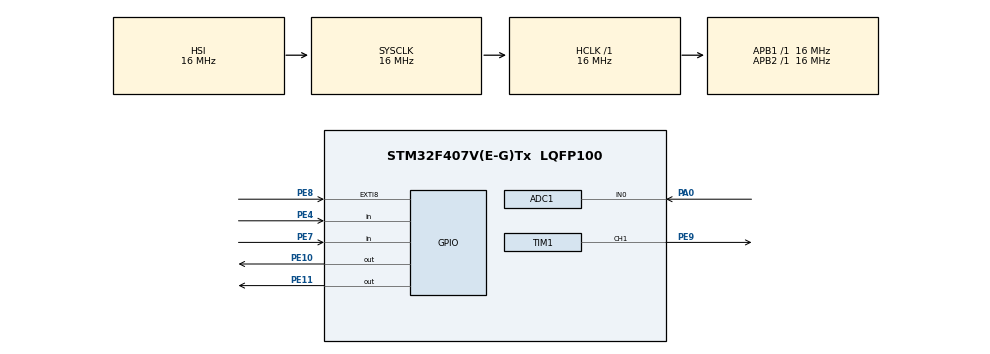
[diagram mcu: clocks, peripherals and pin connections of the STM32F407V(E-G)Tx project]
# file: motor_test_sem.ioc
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ADC1.Channel-0\#ChannelRegularConversion=ADC_CHANNEL_0
ADC1.NbrOfConversionFlag=1
ADC1.Rank-0\#ChannelRegularConversion=1
ADC1.SamplingTime-0\#ChannelRegularConversion=ADC_SAMPLETIME_480CYCLES
ADC1.master=1
Dma.ADC1.0.Direction=DMA_PERIPH_TO_MEMORY
Dma.ADC1.0.FIFOMode=DMA_FIFOMODE_ENABLE
Dma.ADC1.0.FIFOThreshold=DMA_FIFO_THRESHOLD_FULL
Dma.ADC1.0.Instance=DMA2_Stream0
Dma.ADC1.0.MemBurst=DMA_MBURST_SINGLE
Dma.ADC1.0.MemDataAlignment=DMA_MDATAALIGN_HALFWORD
Dma.ADC1.0.MemInc=DMA_MINC_ENABLE
Dma.ADC1.0.Mode=DMA_CIRCULAR
Dma.ADC1.0.PeriphBurst=DMA_PBURST_SINGLE
Dma.ADC1.0.PeriphDataAlignment=DMA_PDATAALIGN_HALFWORD
Dma.ADC1.0.PeriphInc=DMA_PINC_DISABLE
Dma.ADC1.0.Priority=DMA_PRIORITY_LOW
Dma.Request0=ADC1
Mcu.Family=STM32F4
Mcu.Name=STM32F407V(E-G)Tx
Mcu.Package=LQFP100
NVIC.ADC_IRQn=true\:0\:0\:false\:false\:true\:true\:true\:true
NVIC.DMA2_Stream0_IRQn=true\:0\:0\:false\:false\:true\:false\:true\:true
NVIC.EXTI9_5_IRQn=true\:0\:0\:false\:false\:true\:true\:true\:true
NVIC.PriorityGroup=NVIC_PRIORITYGROUP_4
NVIC.TIM2_IRQn=true\:0\:0\:false\:false\:true\:true\:true\:true
PA0-WKUP.Signal=ADCx_IN0
PA13.Mode=Serial_Wire
PA13.Signal=SYS_JTMS-SWDIO
PA14.Mode=Serial_Wire
PA14.Signal=SYS_JTCK-SWCLK
PE10.Signal=GPIO_Output
PE11.Signal=GPIO_Output
PE4.GPIO_PuPd=GPIO_PULLUP
PE4.Signal=GPIO_Input
PE7.Signal=GPIO_Input
PE8.Signal=GPXTI8
PE9.Signal=S_TIM1_CH1
ProjectManager.HeapSize=0x200
ProjectManager.StackSize=0x400
ProjectManager.TargetToolchain=STM32CubeIDE
RCC.AHBFreq_Value=16000000
RCC.APB1Freq_Value=16000000
RCC.APB2Freq_Value=16000000
RCC.CortexFreq_Value=16000000
RCC.HSE_VALUE=25000000
RCC.HSI_VALUE=16000000
RCC.LSE_VALUE=32768
RCC.SYSCLKFreq_VALUE=16000000
RCC.VCOOutputFreq_Value=192000000
SH.ADCx_IN0.0=ADC1_IN0,IN0
SH.S_TIM1_CH1.0=TIM1_CH1,PWM Generation1 CH1
TIM1.AutoReloadPreload=TIM_AUTORELOAD_PRELOAD_DISABLE
TIM1.Channel-PWM\ Generation1\ CH1=TIM_CHANNEL_1
TIM1.Period=4096
TIM1.Prescaler=15
TIM2.Period=100000
TIM2.Prescaler=15
VP_TIM1_VS_ClockSourceINT.Mode=Internal
VP_TIM2_VS_ClockSourceINT.Mode=Internal
board=custom

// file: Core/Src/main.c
 /* USER CODE BEGIN Header */
/**
  ******************************************************************************
  * @file           : main.c
  * @brief          : Main program body
  ******************************************************************************
  * @attention
  *
  * Copyright (c) 2024 STMicroelectronics.
  * All rights reserved.
  *
  * This software is licensed under terms that can be found in the LICENSE file
  * in the root directory of this software component.
  * If no LICENSE file comes with this software, it is provided AS-IS.
  *
  ******************************************************************************
  */
/* USER CODE END Header */
#include "main.h"

 ADC_HandleTypeDef hadc1;
DMA_HandleTypeDef hdma_adc1;

TIM_HandleTypeDef htim1;
TIM_HandleTypeDef htim2;

/* USER CODE BEGIN PV */
uint16_t ADCdata;
int16_t angle;
int16_t p_angle = 10000;
int32_t error = 0;
int32_t I_error = 0;
double speed;
double need_speed;
double sum = 0;
double k1 = 1;
double k2 = 1;
double PID;

/* USER CODE END PV */

void SystemClock_Config(void);
static void MX_GPIO_Init(void);
static void MX_DMA_Init(void);
static void MX_ADC1_Init(void);
static void MX_TIM1_Init(void);
static void MX_TIM2_Init(void);

/* USER CODE BEGIN 0 */
void HAL_TIM_PeriodElapsedCallback(TIM_HandleTypeDef *htim1)
{
	if(htim1->Instance == TIM2) //check if the interrupt comes from TIM1
	{
		//period = (16Mhz/htim2.Init.Prescaler(16-1))/htim2.Init.Period(100000);
		//period = (16000000/16)/100000 = 1000000/100000 = 10Hz (0.1 sec.)

	}
}
/* USER CODE END 0 */

int main(void)
{

  /* MCU Configuration--------------------------------------------------------*/

  /* Reset of all peripherals, Initializes the Flash interface and the Systick. */
  HAL_Init();

  /* Configure the system clock */
  SystemClock_Config();

  /* Initialize all configured peripherals */
  MX_GPIO_Init();
  MX_DMA_Init();
  MX_ADC1_Init();
  MX_TIM1_Init();
  MX_TIM2_Init();
  /* USER CODE BEGIN 2 */
  HAL_GPIO_TogglePin(GPIOE, GPIO_PIN_10);
  //HAL_TIM_Base_Start_IT(&htim2);
  HAL_TIM_PWM_Start(&htim1, TIM_CHANNEL_1);
  /* USER CODE END 2 */

  /* Infinite loop */
  /* USER CODE BEGIN WHILE */
  while (1)
  {
//	  HAL_ADC_Start(&hadc1);
//	  ADCdata = HAL_ADC_GetValue(&hadc1);
	  I_error = I_error + error;
	  error = p_angle - angle;

	  int32_t p_term = (int32_t) (k1 * error); //+ k2 * I_error);

	  if (p_term > 0) {
		  uint16_t tmp = TIM1->CCR1;
			  		HAL_GPIO_WritePin(GPIOE, GPIO_PIN_11, GPIO_PIN_RESET);
		  		HAL_GPIO_WritePin(GPIOE, GPIO_PIN_10, GPIO_PIN_SET);

		  		  TIM1->CCR1 = tmp;
	  }
	  else if (p_term  < 0) {
	  		  uint16_t tmp = TIM1->CCR1;
	  		  		HAL_GPIO_WritePin(GPIOE, GPIO_PIN_10, GPIO_PIN_RESET);
	  		  		HAL_GPIO_WritePin(GPIOE, GPIO_PIN_11, GPIO_PIN_SET);
	  		  		  TIM1->CCR1 = tmp;
	  		  		p_term = -p_term;
	  	  }
	  if (error < 25 && error > -25){
		  HAL_GPIO_WritePin(GPIOE, GPIO_PIN_10, GPIO_PIN_RESET);
		  	  		  		HAL_GPIO_WritePin(GPIOE, GPIO_PIN_11, GPIO_PIN_RESET);
	  }

	  if (p_term < 1000) p_term = 1000;

	  TIM1->CCR1 = (uint16_t)p_term;

	  if (HAL_GPIO_ReadPin(GPIOE, GPIO_PIN_4) == GPIO_PIN_RESET)
	  {
		  uint16_t tmp = TIM1->CCR1;
		  TIM1->CCR1=0;
		  HAL_GPIO_TogglePin(GPIOE, GPIO_PIN_10);
		  HAL_GPIO_TogglePin(GPIOE, GPIO_PIN_11);
		  TIM1->CCR1 = tmp;
	  }//*/

    /* USER CODE END WHILE */

  }
}

void SystemClock_Config(void)
{
  RCC_OscInitTypeDef RCC_OscInitStruct = {0};
  RCC_ClkInitTypeDef RCC_ClkInitStruct = {0};

  /** Configure the main internal regulator output voltage
  */
  __HAL_RCC_PWR_CLK_ENABLE();
  __HAL_PWR_VOLTAGESCALING_CONFIG(PWR_REGULATOR_VOLTAGE_SCALE1);

  /** Initializes the RCC Oscillators according to the specified parameters
  * in the RCC_OscInitTypeDef structure.
  */
  RCC_OscInitStruct.OscillatorType = RCC_OSCILLATORTYPE_HSI;
  RCC_OscInitStruct.HSIState = RCC_HSI_ON;
  RCC_OscInitStruct.HSICalibrationValue = RCC_HSICALIBRATION_DEFAULT;
  RCC_OscInitStruct.PLL.PLLState = RCC_PLL_NONE;
  if (HAL_RCC_OscConfig(&RCC_OscInitStruct) != HAL_OK)
  {
    Error_Handler();
  }

  /** Initializes the CPU, AHB and APB buses clocks
  */
  RCC_ClkInitStruct.ClockType = RCC_CLOCKTYPE_HCLK|RCC_CLOCKTYPE_SYSCLK
                              |RCC_CLOCKTYPE_PCLK1|RCC_CLOCKTYPE_PCLK2;
  RCC_ClkInitStruct.SYSCLKSource = RCC_SYSCLKSOURCE_HSI;
  RCC_ClkInitStruct.AHBCLKDivider = RCC_SYSCLK_DIV1;
  RCC_ClkInitStruct.APB1CLKDivider = RCC_HCLK_DIV1;
  RCC_ClkInitStruct.APB2CLKDivider = RCC_HCLK_DIV1;

  if (HAL_RCC_ClockConfig(&RCC_ClkInitStruct, FLASH_LATENCY_0) != HAL_OK)
  {
    Error_Handler();
  }
}

static void MX_ADC1_Init(void)
{

  ADC_ChannelConfTypeDef sConfig = {0};

  /** Configure the global features of the ADC (Clock, Resolution, Data Alignment and number of conversion)
  */
  hadc1.Instance = ADC1;
  hadc1.Init.ClockPrescaler = ADC_CLOCK_SYNC_PCLK_DIV2;
  hadc1.Init.Resolution = ADC_RESOLUTION_12B;
  hadc1.Init.ScanConvMode = DISABLE;
  hadc1.Init.ContinuousConvMode = DISABLE;
  hadc1.Init.DiscontinuousConvMode = DISABLE;
  hadc1.Init.ExternalTrigConvEdge = ADC_EXTERNALTRIGCONVEDGE_NONE;
  hadc1.Init.ExternalTrigConv = ADC_SOFTWARE_START;
  hadc1.Init.DataAlign = ADC_DATAALIGN_RIGHT;
  hadc1.Init.NbrOfConversion = 1;
  hadc1.Init.DMAContinuousRequests = DISABLE;
  hadc1.Init.EOCSelection = ADC_EOC_SINGLE_CONV;
  if (HAL_ADC_Init(&hadc1) != HAL_OK)
  {
    Error_Handler();
  }

  /** Configure for the selected ADC regular channel its corresponding rank in the sequencer and its sample time.
  */
  sConfig.Channel = ADC_CHANNEL_0;
  sConfig.Rank = 1;
  sConfig.SamplingTime = ADC_SAMPLETIME_480CYCLES;
  if (HAL_ADC_ConfigChannel(&hadc1, &sConfig) != HAL_OK)
  {
    Error_Handler();
  }

}

static void MX_TIM1_Init(void)
{

  TIM_ClockConfigTypeDef sClockSourceConfig = {0};
  TIM_MasterConfigTypeDef sMasterConfig = {0};
  TIM_OC_InitTypeDef sConfigOC = {0};
  TIM_BreakDeadTimeConfigTypeDef sBreakDeadTimeConfig = {0};

  htim1.Instance = TIM1;
  htim1.Init.Prescaler = 15;
  htim1.Init.CounterMode = TIM_COUNTERMODE_UP;
  htim1.Init.Period = 4096;
  htim1.Init.ClockDivision = TIM_CLOCKDIVISION_DIV1;
  htim1.Init.RepetitionCounter = 0;
  htim1.Init.AutoReloadPreload = TIM_AUTORELOAD_PRELOAD_DISABLE;
  if (HAL_TIM_Base_Init(&htim1) != HAL_OK)
  {
    Error_Handler();
  }
  sClockSourceConfig.ClockSource = TIM_CLOCKSOURCE_INTERNAL;
  if (HAL_TIM_ConfigClockSource(&htim1, &sClockSourceConfig) != HAL_OK)
  {
    Error_Handler();
  }
  if (HAL_TIM_PWM_Init(&htim1) != HAL_OK)
  {
    Error_Handler();
  }
  sMasterConfig.MasterOutputTrigger = TIM_TRGO_RESET;
  sMasterConfig.MasterSlaveMode = TIM_MASTERSLAVEMODE_DISABLE;
  if (HAL_TIMEx_MasterConfigSynchronization(&htim1, &sMasterConfig) != HAL_OK)
  {
    Error_Handler();
  }
  sConfigOC.OCMode = TIM_OCMODE_PWM1;
  sConfigOC.Pulse = 0;
  sConfigOC.OCPolarity = TIM_OCPOLARITY_HIGH;
  sConfigOC.OCNPolarity = TIM_OCNPOLARITY_HIGH;
  sConfigOC.OCFastMode = TIM_OCFAST_DISABLE;
  sConfigOC.OCIdleState = TIM_OCIDLESTATE_RESET;
  sConfigOC.OCNIdleState = TIM_OCNIDLESTATE_RESET;
  if (HAL_TIM_PWM_ConfigChannel(&htim1, &sConfigOC, TIM_CHANNEL_1) != HAL_OK)
  {
    Error_Handler();
  }
  sBreakDeadTimeConfig.OffStateRunMode = TIM_OSSR_DISABLE;
  sBreakDeadTimeConfig.OffStateIDLEMode = TIM_OSSI_DISABLE;
  sBreakDeadTimeConfig.LockLevel = TIM_LOCKLEVEL_OFF;
  sBreakDeadTimeConfig.DeadTime = 0;
  sBreakDeadTimeConfig.BreakState = TIM_BREAK_DISABLE;
  sBreakDeadTimeConfig.BreakPolarity = TIM_BREAKPOLARITY_HIGH;
  sBreakDeadTimeConfig.AutomaticOutput = TIM_AUTOMATICOUTPUT_DISABLE;
  if (HAL_TIMEx_ConfigBreakDeadTime(&htim1, &sBreakDeadTimeConfig) != HAL_OK)
  {
    Error_Handler();
  }
  HAL_TIM_MspPostInit(&htim1);

}

static void MX_TIM2_Init(void)
{

  TIM_ClockConfigTypeDef sClockSourceConfig = {0};
  TIM_MasterConfigTypeDef sMasterConfig = {0};

  htim2.Instance = TIM2;
  htim2.Init.Prescaler = 15;
  htim2.Init.CounterMode = TIM_COUNTERMODE_UP;
  htim2.Init.Period = 100000;
  htim2.Init.ClockDivision = TIM_CLOCKDIVISION_DIV1;
  htim2.Init.AutoReloadPreload = TIM_AUTORELOAD_PRELOAD_DISABLE;
  if (HAL_TIM_Base_Init(&htim2) != HAL_OK)
  {
    Error_Handler();
  }
  sClockSourceConfig.ClockSource = TIM_CLOCKSOURCE_INTERNAL;
  if (HAL_TIM_ConfigClockSource(&htim2, &sClockSourceConfig) != HAL_OK)
  {
    Error_Handler();
  }
  sMasterConfig.MasterOutputTrigger = TIM_TRGO_RESET;
  sMasterConfig.MasterSlaveMode = TIM_MASTERSLAVEMODE_DISABLE;
  if (HAL_TIMEx_MasterConfigSynchronization(&htim2, &sMasterConfig) != HAL_OK)
  {
    Error_Handler();
  }

}

static void MX_DMA_Init(void)
{

  /* DMA controller clock enable */
  __HAL_RCC_DMA2_CLK_ENABLE();

  /* DMA interrupt init */
  /* DMA2_Stream0_IRQn interrupt configuration */
  HAL_NVIC_SetPriority(DMA2_Stream0_IRQn, 0, 0);
  HAL_NVIC_EnableIRQ(DMA2_Stream0_IRQn);

}

static void MX_GPIO_Init(void)
{
  GPIO_InitTypeDef GPIO_InitStruct = {0};

  /* GPIO Ports Clock Enable */
  __HAL_RCC_GPIOE_CLK_ENABLE();
  __HAL_RCC_GPIOA_CLK_ENABLE();

  /*Configure GPIO pin Output Level */
  HAL_GPIO_WritePin(GPIOE, GPIO_PIN_10|GPIO_PIN_11, GPIO_PIN_RESET);

  /*Configure GPIO pin : PE4 */
  GPIO_InitStruct.Pin = GPIO_PIN_4;
  GPIO_InitStruct.Mode = GPIO_MODE_INPUT;
  GPIO_InitStruct.Pull = GPIO_PULLUP;
  HAL_GPIO_Init(GPIOE, &GPIO_InitStruct);

  /*Configure GPIO pin : PE7 */
  GPIO_InitStruct.Pin = GPIO_PIN_7;
  GPIO_InitStruct.Mode = GPIO_MODE_INPUT;
  GPIO_InitStruct.Pull = GPIO_NOPULL;
  HAL_GPIO_Init(GPIOE, &GPIO_InitStruct);

  /*Configure GPIO pin : PE8 */
  GPIO_InitStruct.Pin = GPIO_PIN_8;
  GPIO_InitStruct.Mode = GPIO_MODE_IT_RISING;
  GPIO_InitStruct.Pull = GPIO_NOPULL;
  HAL_GPIO_Init(GPIOE, &GPIO_InitStruct);

  /*Configure GPIO pins : PE10 PE11 */
  GPIO_InitStruct.Pin = GPIO_PIN_10|GPIO_PIN_11;
  GPIO_InitStruct.Mode = GPIO_MODE_OUTPUT_PP;
  GPIO_InitStruct.Pull = GPIO_NOPULL;
  GPIO_InitStruct.Speed = GPIO_SPEED_FREQ_LOW;
  HAL_GPIO_Init(GPIOE, &GPIO_InitStruct);

  /* EXTI interrupt init*/
  HAL_NVIC_SetPriority(EXTI9_5_IRQn, 0, 0);
  HAL_NVIC_EnableIRQ(EXTI9_5_IRQn);

}

/* USER CODE BEGIN 4 */
void HAL_GPIO_EXTI_Callback(uint16_t GPIO_Pin)

{
	if(HAL_GPIO_ReadPin(GPIOE,GPIO_PIN_7)==GPIO_PIN_SET)
	{
		angle++;
	}
	else
	{
		angle--;
	}
}
/* USER CODE END 4 */

void Error_Handler(void)
{
  __disable_irq();
  while (1)
  {
  }
}
